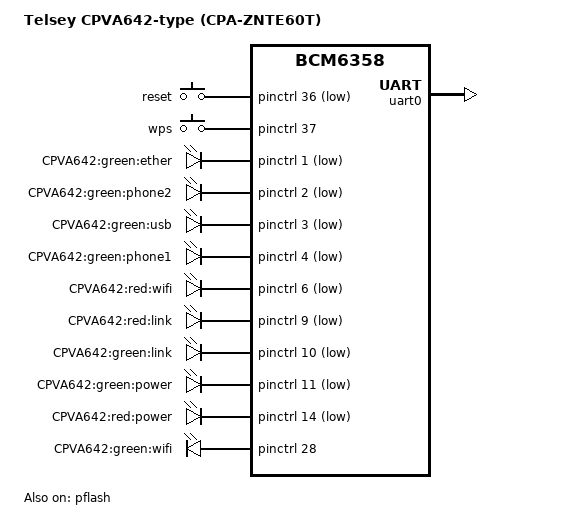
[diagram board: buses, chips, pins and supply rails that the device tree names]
/dts-v1/;

#include "bcm6358.dtsi"

#include <dt-bindings/input/input.h>

/ {
	model = "Telsey CPVA642-type (CPA-ZNTE60T)";
	compatible = "telsey,cpva642", "brcm,bcm6358";

	chosen {
		bootargs = "rootfstype=squashfs,jffs2 noinitrd console=ttyS0,115200";
		stdout-path = "serial0:115200n8";
	};

	gpio-keys-polled {
		compatible = "gpio-keys-polled";
		#address-cells = <1>;
		#size-cells = <0>;
		poll-interval = <20>;
		debounce-interval = <60>;

		reset {
			label = "reset";
			gpios = <&pinctrl 36 1>;
			linux,code = <KEY_RESTART>;
		};
		wps {
			label = "wps";
			gpios = <&pinctrl 37 0>;
			linux,code = <KEY_WPS_BUTTON>;
		};
	};

	gpio-leds {
		compatible = "gpio-leds";

		eth_green {
			label = "CPVA642:green:ether";
			gpios = <&pinctrl 1 1>;
		};
		phone2_green {
			label = "CPVA642:green:phone2";
			gpios = <&pinctrl 2 1>;
		};
		usb_green {
			label = "CPVA642:green:usb";
			gpios = <&pinctrl 3 1>;
		};
		phone1_green {
			label = "CPVA642:green:phone1";
			gpios = <&pinctrl 4 1>;
		};
		wifi_red {
			label = "CPVA642:red:wifi";
			gpios = <&pinctrl 6 1>;
		};
		link_red {
			label = "CPVA642:red:link";
			gpios = <&pinctrl 9 1>;
		};
		link_green {
			label = "CPVA642:green:link";
			gpios = <&pinctrl 10 1>;
		};
		power_green {
			label = "CPVA642:green:power";
			gpios = <&pinctrl 11 1>;
			default-state = "on";
		};
		power_red {
			label = "CPVA642:red:power";
			gpios = <&pinctrl 14 1>;
		};
		wifi_green {
			label = "CPVA642:green:wifi";
			gpios = <&pinctrl 28 0>;
		};
	};
};

&pflash {
	status = "ok";

	linux,part-probe = "bcm63xxpart";

	partitions {
		compatible = "fixed-partitions";
		#address-cells = <1>;
		#size-cells = <1>;

		cfe@0 {
			label = "CFE";
			reg = <0x000000 0x010000>;
			read-only;
		};

		linux@10000 {
			label = "linux";
			reg = <0x010000 0x7e0000>;
			compatible = "brcm,bcm963xx-imagetag";
		};

		nvram@7f0000 {
			label = "nvram";
			reg = <0x7f0000 0x010000>;
		};
	};
};

&uart0 {
	status = "ok";
};
